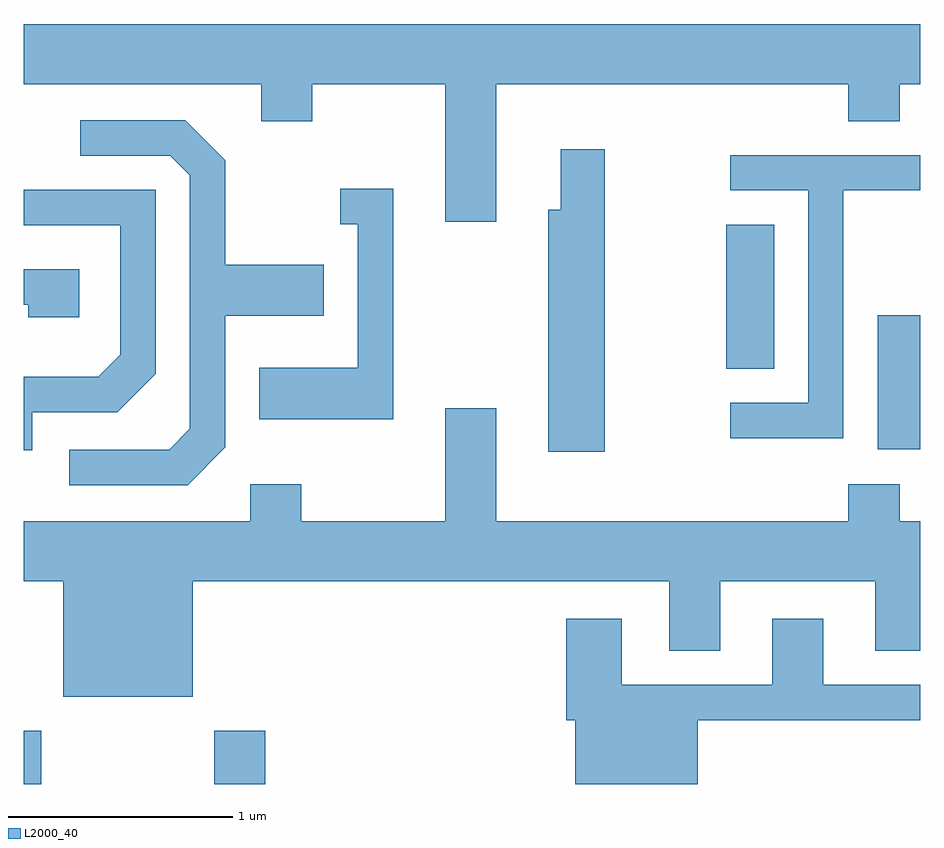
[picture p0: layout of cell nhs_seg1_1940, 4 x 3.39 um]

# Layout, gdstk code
import gdstk
lib = gdstk.Library(unit=1e-6, precision=1e-09)
def R(c, l, rs):  # rectangles x0, y0, x1, y1
    for r in rs: c.add(gdstk.rectangle(r[:2], r[2:], *l))
def P(c, l, *ps):  # polygons
    for p in ps: c.add(gdstk.Polygon(p, *l))
L2000_40 = (2000, 40)

nhs_seg1_1940 = lib.new_cell('nhs_seg1_1940')
R(nhs_seg1_1940, L2000_40, [(243.611,969.712,243.689,969.949), (244.461,969.712,244.689,969.949), (247.421,971.206,247.611,971.804), (246.746,971.566,246.959,972.209)])
P(nhs_seg1_1940, L2000_40, [(245.719,972.836),(247.291,972.836),(247.291,972.671),(247.519,972.671),(247.519,972.836),(247.611,972.836),(247.611,973.104),(243.611,973.104),(243.611,972.836),(244.671,972.836),(244.671,972.671),(244.899,972.671),(244.899,972.836),(245.491,972.836),(245.491,972.221),(245.719,972.221)],
  [(244.509,971.214),(244.509,971.801),(244.949,971.801),(244.949,972.029),(244.509,972.029),(244.509,972.497),(244.332,972.674),(243.863,972.674),(243.863,972.516),(244.264,972.516),(244.351,972.429),(244.351,971.297),(244.259,971.204),(243.813,971.204),(243.813,971.046),(244.342,971.046)],
  [(246.204,972.544),(246.006,972.544),(246.006,972.274),(245.951,972.274),(245.951,971.196),(246.204,971.196)],
  [(247.269,972.361),(247.611,972.361),(247.611,972.519),(246.763,972.519),(246.763,972.361),(247.111,972.361),(247.111,971.414),(246.763,971.414),(246.763,971.256),(247.269,971.256)],
  [(245.259,972.369),(245.023,972.369),(245.023,972.211),(245.101,972.211),(245.101,971.569),(244.661,971.569),(244.661,971.341),(245.259,971.341)],
  [(243.649,971.371),(244.027,971.371),(244.199,971.544),(244.199,972.364),(243.611,972.364),(243.611,972.206),(244.041,972.206),(244.041,971.627),(243.944,971.529),(243.611,971.529),(243.611,971.201),(243.649,971.201)],
  [(243.859,972.009),(243.611,972.009),(243.611,971.851),(243.631,971.851),(243.631,971.796),(243.859,971.796)],
  [(245.719,971.389),(245.491,971.389),(245.491,970.884),(244.849,970.884),(244.849,971.049),(244.621,971.049),(244.621,970.884),(243.611,970.884),(243.611,970.616),(243.786,970.616),(243.786,970.101),(244.364,970.101),(244.364,970.616),(246.491,970.616),(246.491,970.306),(246.719,970.306),(246.719,970.616),(247.411,970.616),(247.411,970.306),(247.611,970.306),(247.611,970.884),(247.519,970.884),(247.519,971.049),(247.291,971.049),(247.291,970.884),(245.719,970.884)],
  [(246.619,969.996),(247.611,969.996),(247.611,970.154),(247.179,970.154),(247.179,970.449),(246.951,970.449),(246.951,970.154),(246.279,970.154),(246.279,970.449),(246.031,970.449),(246.031,969.996),(246.071,969.996),(246.071,969.712),(246.619,969.712)])

lib.write_gds('nhs_seg1_1940.gds')
